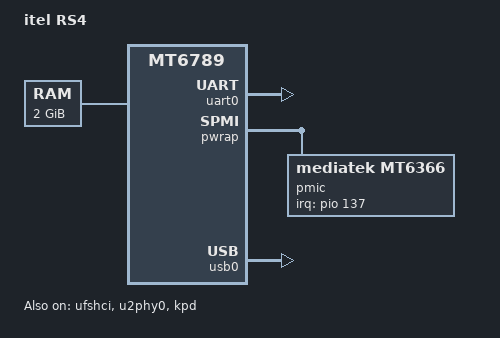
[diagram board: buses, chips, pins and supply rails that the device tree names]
// SPDX-License-Identifier: (GPL-2.0 OR MIT)
/* itel RS4 (S666LN), from the stock vendor_boot DTB. */

/dts-v1/;
#include "mt6789.dtsi"
#include <dt-bindings/input/input.h>

/ {
	model = "itel RS4";
	compatible = "itel,s666ln", "mediatek,mt6789";

	aliases {
		serial0 = &uart0;
	};

	chosen {
		stdout-path = "serial0:921600n8";

		#address-cells = <2>;
		#size-cells = <2>;

		/* LK handoff framebuffer */
		framebuffer@ff1a4000 {
			compatible = "simple-framebuffer";
			reg = <0x0 0xff1a4000 0x0 ((720 + 16) * 1612 * 4)>;
			width = <720>;
			height = <1612>;
			stride = <((720 + 16) * 4)>;
			format = "a8r8g8b8";
		};
	};

	/* U-Boot clamps gd->ram_size to 2G */
	memory@40000000 {
		device_type = "memory";
		reg = <0x0 0x40000000 0x0 0x80000000>;
	};

	reserved-memory {
		#address-cells = <2>;
		#size-cells = <2>;
		ranges;

		aee-debug-kinfo@48080000 {
			reg = <0x0 0x48080000 0x0 0x10000>;
			no-map;
		};

		ramoops@48090000 {
			compatible = "ramoops";
			reg = <0x0 0x48090000 0x0 0xe0000>;
			record-size = <0x10000>;
			console-size = <0x40000>;
			pmsg-size = <0x40000>;
		};

		minirdump@48170000 {
			reg = <0x0 0x48170000 0x0 0x10000>;
			no-map;
		};

		bl31@48200000 {
			reg = <0x0 0x48200000 0x0 0x200000>;
			no-map;
		};

		crypto-hw@48401000 {
			reg = <0x0 0x48401000 0x0 0x1000>;
			no-map;
		};

		tee@70000000 {
			reg = <0x0 0x70000000 0x0 0x6000000>;
			no-map;
		};

		consys_emi@7d000000 {
			reg = <0x0 0x7d000000 0x0 0x500000>;
			no-map;
		};

		tee_secmem@7de00000 {
			reg = <0x0 0x7de00000 0x0 0x800000>;
			no-map;
		};

		/* GenieZone hypervisor writes its log here at runtime */
		gz-log@7e600000 {
			reg = <0x0 0x7e600000 0x0 0x41000>;
		};

		gz-unmap2@7e800000 {
			reg = <0x0 0x7e800000 0x0 0x400000>;
			no-map;
		};

		gz@7ec00000 {
			reg = <0x0 0x7ec00000 0x0 0x1200000>;
			no-map;
		};

		mcupm@7feb0000 {
			reg = <0x0 0x7feb0000 0x0 0x100000>;
			no-map;
		};

		emi-mbist@7ffff000 {
			reg = <0x0 0x7ffff000 0x0 0x1000>;
			no-map;
		};

		ap_md_c_smem@8c000000 {
			reg = <0x0 0x8c000000 0x0 0x16a0000>;
			no-map;
		};

		ap_md_nc_smem@8e000000 {
			reg = <0x0 0x8e000000 0x0 0xe10000>;
			no-map;
		};

		scp_share@8f000000 {
			reg = <0x0 0x8f000000 0x0 0x7a0000>;
			no-map;
		};

		sspm_ap_shared@9f560000 {
			reg = <0x0 0x9f560000 0x0 0x110000>;
			no-map;
		};

		debug_met@9f670000 {
			reg = <0x0 0x9f670000 0x0 0x800000>;
			no-map;
		};

		sspm@9fe70000 {
			reg = <0x0 0x9fe70000 0x0 0x180000>;
			no-map;
		};

		wifi_reserve@bf000000 {
			reg = <0x0 0xbf000000 0x0 0x600000>;
			no-map;
		};

		ccci_tag@bf7f0000 {
			reg = <0x0 0xbf7f0000 0x0 0x10000>;
			no-map;
		};

		scp_reserved@bf800000 {
			reg = <0x0 0xbf800000 0x0 0x600000>;
			no-map;
		};

		atf-log@bfe00000 {
			reg = <0x0 0xbfe00000 0x0 0x200000>;
			no-map;
		};
	};
};

&uart0 {
	status = "okay";
};

&soc {
	kpd: keypad@10010000 {
		compatible = "mediatek,mt6789-keypad";
		reg = <0x0 0x10010000 0x0 0x1000>;
		interrupts = <GIC_SPI 106 IRQ_TYPE_EDGE_RISING>;
		clocks = <&clk26m>;
		clock-names = "kpd";
		row-count = <1>;
		column-count = <1>;
		linux,keymap = <MATRIX_KEY(0, 0, KEY_VOLUMEDOWN)>;
		status = "okay";
	};
};

&pwrap {
	status = "okay";

	pmic: pmic {
		compatible = "mediatek,mt6366", "mediatek,mt6358";
		interrupt-controller;
		#interrupt-cells = <2>;
		interrupts-extended = <&pio 137 IRQ_TYPE_LEVEL_HIGH>;

		keys {
			compatible = "mediatek,mt6358-keys";
			mediatek,long-press-mode = <1>;
			power-off-time-sec = <0>;

			power {
				linux,keycodes = <KEY_POWER>;
				wakeup-source;
			};
		};
	};
};

&ufshci {
	status = "okay";
};

&u2phy0 {
	status = "okay";
};

&usb0 {
	status = "okay";
};
